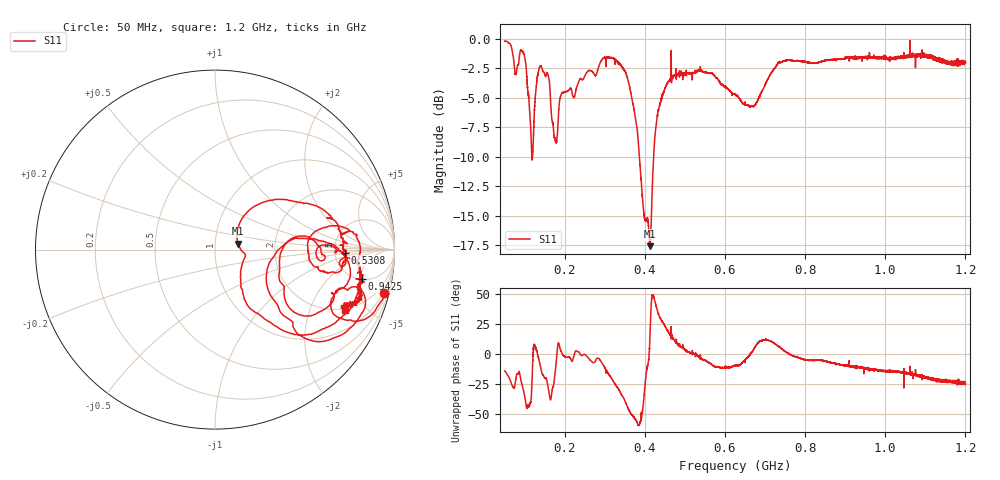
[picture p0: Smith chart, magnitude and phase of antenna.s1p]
! Calibrated high-resolution NanoVNA antenna measurement
# Hz S RI R 50
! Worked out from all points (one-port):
!   40001 points, 50 MHz to 1.2 GHz, reference 50 ohm
!   lowest |S11| = -17.6 dB at 412.8 MHz (marker M1), VSWR 1.30, Z = 64.5 + j4.29 ohm
!   |S11| at or under -10 dB: 118.2 MHz to 119.6 MHz (1.398 MHz wide, 1.18 % of centre); 119.5844 MHz to 119.6793 MHz (94.95 kHz wide, 0.0794 % of centre); 386.3 MHz to 421.8 MHz (35.52 MHz wide, 8.79 % of centre)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
!   S11 on the Smith chart (normalised r, x): 50 MHz: 0.81, -7.87; 530.8 MHz: 6.17, -0.46; 942.5 MHz: 5.03, -5.51; 1.2 GHz: 1.92, -3.45
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5e7  0.9443 -0.2415
6.9205e7  0.7891 -0.3985
8.38675e7  0.7405 -0.2226
9.26075e7  0.8079 -0.3712
1.018075e8  0.6317 -0.5048
1.16125e8  0.2993 -0.2367
1.256988e8  0.5333 0.0628
1.374e8  0.7515 -0.0984
1.6155e8  0.5513 -0.3642
1.769025e8  0.3582 -0.087
1.9375e8  0.5904 -0.00152
2.84715e8  0.7565 -0.0504
3.032012e8  0.8085 -0.1934
3.375e8  0.6685 -0.4085
3.68665e8  0.3399 -0.4282
3.977888e8  0.1455 -0.1078
4.127675e8  0.128 0.0326
4.326625e8  0.4002 0.2757
4.8125e8  0.6976 0.1062
5.307575e8  0.7223 -0.0177
6.25e8  0.5716 -0.0992
6.723512e8  0.5174 0.0385
7.053562e8  0.6529 0.1329
7.6875e8  0.8067 -0.0224
9.125e8  0.8155 -0.1495
9.425438e8  0.8191 -0.1651
1.05625e9  0.8073 -0.2357
1.2e9  0.7145 -0.3382
